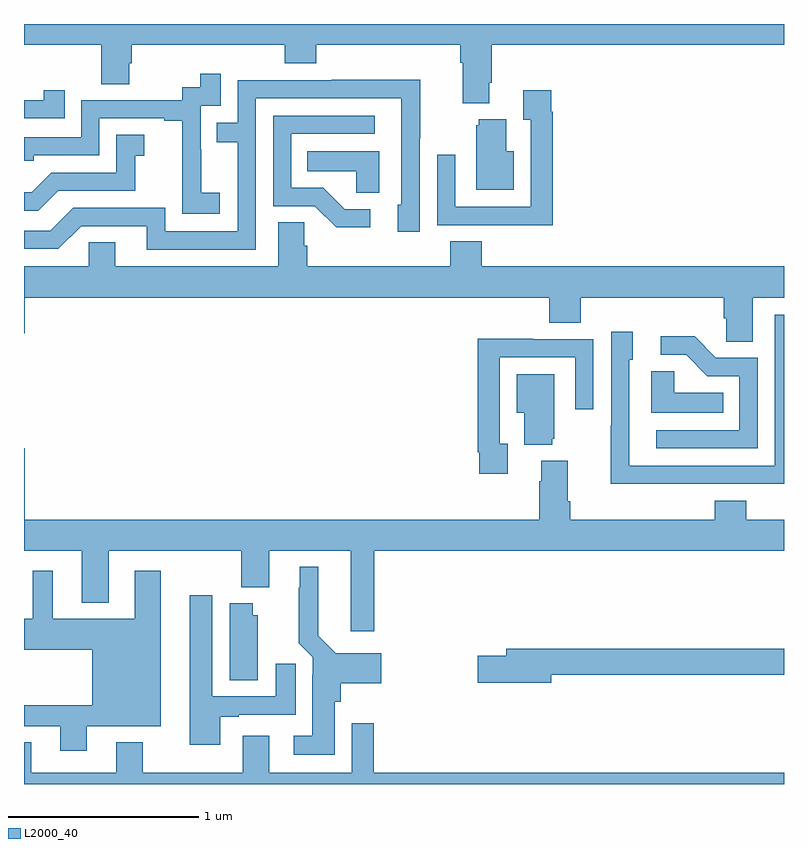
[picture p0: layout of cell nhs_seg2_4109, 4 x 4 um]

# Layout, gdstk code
import gdstk
lib = gdstk.Library(unit=1e-6, precision=1e-09)
def P(c, l, *ps):  # polygons
    for p in ps: c.add(gdstk.Polygon(p, *l))
L2000_40 = (2000, 40)

nhs_seg2_4109 = lib.new_cell('nhs_seg2_4109')
P(nhs_seg2_4109, L2000_40, [(335.449,591.49),(335.462,591.49),(335.462,591.692),(337,591.692),(337,591.8),(333,591.8),(333,591.692),(333.406,591.692),(333.406,591.484),(333.553,591.484),(333.553,591.594),(333.566,591.594),(333.566,591.692),(334.373,591.692),(334.373,591.593),(334.538,591.593),(334.538,591.692),(335.297,591.692),(335.297,591.596),(335.309,591.596),(335.309,591.383),(335.449,591.383)],
  [(334.03,590.911),(333.932,590.911),(333.932,591.14),(333.93,591.14),(333.93,591.369),(334.035,591.369),(334.035,591.538),(333.927,591.538),(333.927,591.468),(333.834,591.468),(333.834,591.399),(333.3,591.399),(333.3,591.204),(333,591.204),(333,591.081),(333.051,591.081),(333.051,591.108),(333.396,591.108),(333.396,591.303),(333.737,591.303),(333.737,591.291),(333.833,591.291),(333.833,591.007),(333.832,591.007),(333.832,590.801),(334.03,590.801)],
  [(334.221,591.408),(334.986,591.408),(334.986,590.85),(334.967,590.85),(334.967,590.706),(335.082,590.706),(335.082,591.199),(335.085,591.199),(335.085,591.506),(334.621,591.506),(334.621,591.504),(334.125,591.504),(334.125,591.279),(334.015,591.279),(334.015,591.178),(334.125,591.178),(334.125,590.709),(333.744,590.709),(333.744,590.832),(333.258,590.832),(333.138,590.712),(333,590.712),(333,590.616),(333.18,590.616),(333.3,590.736),(333.647,590.736),(333.647,590.613),(334.221,590.613)],
  [(333.215,591.451),(333.104,591.451),(333.104,591.399),(333,591.399),(333,591.303),(333.215,591.303)],
  [(335.783,591.338),(335.776,591.338),(335.776,591.451),(335.627,591.451),(335.627,591.295),(335.667,591.295),(335.667,590.838),(335.271,590.838),(335.271,591.112),(335.175,591.112),(335.175,590.742),(335.491,590.742),(335.491,590.741),(335.783,590.741)],
  [(334.822,590.826),(334.687,590.826),(334.576,590.937),(334.407,590.937),(334.407,591.222),(334.846,591.222),(334.846,591.318),(334.311,591.318),(334.311,590.841),(334.53,590.841),(334.643,590.729),(334.822,590.729)],
  [(335.578,591.13),(335.539,591.13),(335.539,591.298),(335.393,591.298),(335.393,591.267),(335.381,591.267),(335.381,590.927),(335.578,590.927)],
  [(333.181,590.922),(333.585,590.922),(333.585,591.107),(333.634,591.107),(333.634,591.217),(333.486,591.217),(333.486,591.018),(333.144,591.018),(333.04,590.914),(333,590.914),(333,590.817),(333.076,590.817)],
  [(334.87,591.13),(334.492,591.13),(334.492,591.026),(334.749,591.026),(334.749,590.911),(334.87,590.911)],
  [(336.835,590.36),(337,590.36),(337,590.524),(335.408,590.524),(335.408,590.657),(335.243,590.657),(335.243,590.524),(334.49,590.524),(334.49,590.633),(334.476,590.633),(334.476,590.756),(334.337,590.756),(334.337,590.524),(333.481,590.524),(333.481,590.651),(333.342,590.651),(333.342,590.524),(333,590.524),(333,590.172),(333.004,590.172),(333.004,590.36),(335.765,590.36),(335.765,590.227),(335.93,590.227),(335.93,590.36),(336.683,590.36),(336.683,590.251),(336.696,590.251),(336.696,590.128),(336.835,590.128)],
  [(336.551,589.38),(337,589.38),(337,590.271),(336.951,590.271),(336.951,589.476),(336.186,589.476),(336.186,590.034),(336.205,590.034),(336.205,590.179),(336.09,590.179),(336.09,589.685),(336.088,589.685),(336.088,589.379),(336.551,589.379)],
  [(336.861,590.043),(336.642,590.043),(336.529,590.156),(336.351,590.156),(336.351,590.058),(336.485,590.058),(336.596,589.947),(336.765,589.947),(336.765,589.662),(336.327,589.662),(336.327,589.566),(336.861,589.566)],
  [(335.545,589.59),(335.505,589.59),(335.505,590.046),(335.901,590.046),(335.901,589.773),(335.997,589.773),(335.997,590.142),(335.681,590.142),(335.681,590.144),(335.389,590.144),(335.389,589.546),(335.397,589.546),(335.397,589.434),(335.545,589.434)],
  [(336.68,589.858),(336.423,589.858),(336.423,589.973),(336.302,589.973),(336.302,589.754),(336.68,589.754)],
  [(335.78,589.617),(335.791,589.617),(335.791,589.957),(335.594,589.957),(335.594,589.754),(335.633,589.754),(335.633,589.586),(335.78,589.586)],
  [(334.844,589.028),(337,589.028),(337,589.192),(336.8,589.192),(336.8,589.291),(336.635,589.291),(336.635,589.192),(335.876,589.192),(335.876,589.288),(335.863,589.288),(335.863,589.501),(335.723,589.501),(335.723,589.394),(335.711,589.394),(335.711,589.192),(333.004,589.192),(333.004,589.567),(333,589.567),(333,589.028),(333.305,589.028),(333.305,588.755),(333.445,588.755),(333.445,589.028),(334.144,589.028),(334.144,588.836),(334.291,588.836),(334.291,589.028),(334.721,589.028),(334.721,588.603),(334.844,588.603)],
  [(334.636,588.234),(334.667,588.234),(334.667,588.329),(334.879,588.329),(334.879,588.487),(334.641,588.487),(334.549,588.58),(334.549,588.943),(334.451,588.943),(334.451,588.833),(334.447,588.833),(334.447,588.542),(334.521,588.468),(334.521,588.374),(334.517,588.374),(334.517,588.055),(334.419,588.055),(334.419,587.954),(334.636,587.954)],
  [(333.331,588.104),(333.721,588.104),(333.721,588.922),(333.584,588.922),(333.584,588.67),(333.151,588.67),(333.151,588.922),(333.047,588.922),(333.047,588.67),(333,588.67),(333,588.506),(333.359,588.506),(333.359,588.214),(333,588.214),(333,588.105),(333.191,588.105),(333.191,587.976),(333.331,587.976)],
  [(334.033,588.153),(334.129,588.153),(334.129,588.165),(334.429,588.165),(334.429,588.433),(334.325,588.433),(334.325,588.261),(333.991,588.261),(333.991,588.793),(333.872,588.793),(333.872,588.006),(334.033,588.006)],
  [(334.231,588.687),(334.204,588.687),(334.204,588.751),(334.082,588.751),(334.082,588.346),(334.231,588.346)],
  [(335.776,588.376),(337,588.376),(337,588.512),(335.537,588.512),(335.537,588.476),(335.388,588.476),(335.388,588.334),(335.776,588.334)],
  [(334.151,588.055),(334.151,587.86),(333.625,587.86),(333.625,588.019),(333.485,588.019),(333.485,587.86),(333.037,587.86),(333.037,588.02),(333,588.02),(333,587.8),(337,587.8),(337,587.86),(334.841,587.86),(334.841,588.121),(334.725,588.121),(334.725,587.86),(334.291,587.86),(334.291,588.055)])

lib.write_gds('nhs_seg2_4109.gds')
